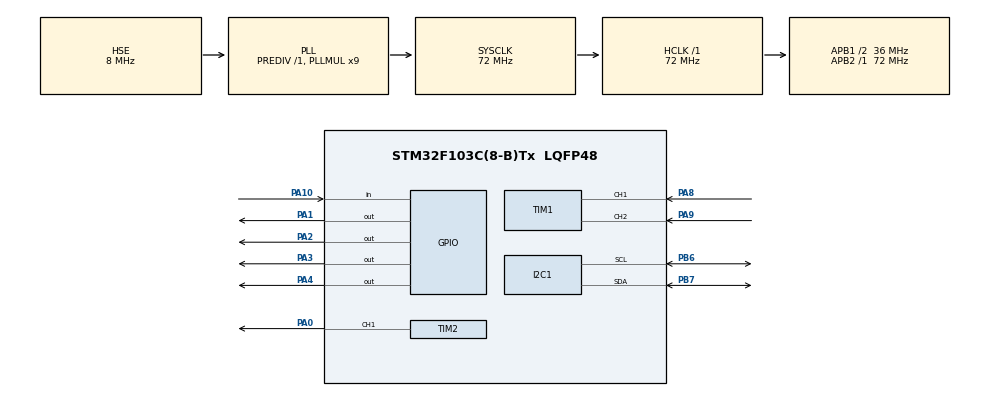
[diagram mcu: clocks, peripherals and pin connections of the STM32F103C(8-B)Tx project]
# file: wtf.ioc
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Mcu.Family=STM32F1
Mcu.Name=STM32F103C(8-B)Tx
Mcu.Package=LQFP48
NVIC.PriorityGroup=NVIC_PRIORITYGROUP_4
PA0-WKUP.Signal=S_TIM2_CH1_ETR
PA1.Signal=GPIO_Output
PA10.GPIO_PuPd=GPIO_PULLUP
PA10.Signal=GPIO_Input
PA13.Mode=Serial_Wire
PA13.Signal=SYS_JTMS-SWDIO
PA14.Mode=Serial_Wire
PA14.Signal=SYS_JTCK-SWCLK
PA2.Signal=GPIO_Output
PA3.PinState=GPIO_PIN_SET
PA3.Signal=GPIO_Output
PA4.Signal=GPIO_Output
PA8.Signal=S_TIM1_CH1
PA9.Signal=S_TIM1_CH2
PB6.Mode=I2C
PB6.Signal=I2C1_SCL
PB7.Mode=I2C
PB7.Signal=I2C1_SDA
PD0-OSC_IN.Mode=HSE-External-Oscillator
PD0-OSC_IN.Signal=RCC_OSC_IN
PD1-OSC_OUT.Mode=HSE-External-Oscillator
PD1-OSC_OUT.Signal=RCC_OSC_OUT
ProjectManager.HeapSize=0x200
ProjectManager.StackSize=0x400
ProjectManager.TargetToolchain=Makefile
RCC.AHBFreq_Value=72000000
RCC.APB1CLKDivider=RCC_HCLK_DIV2
RCC.APB1Freq_Value=36000000
RCC.APB1TimFreq_Value=72000000
RCC.APB2Freq_Value=72000000
RCC.APB2TimFreq_Value=72000000
RCC.HCLKFreq_Value=72000000
RCC.PLLMUL=RCC_PLL_MUL9
RCC.PLLSourceVirtual=RCC_PLLSOURCE_HSE
RCC.SYSCLKFreq_VALUE=72000000
RCC.SYSCLKSource=RCC_SYSCLKSOURCE_PLLCLK
RCC.USBFreq_Value=72000000
SH.S_TIM1_CH1.0=TIM1_CH1,Encoder_Interface
SH.S_TIM1_CH2.0=TIM1_CH2,Encoder_Interface
SH.S_TIM2_CH1_ETR.0=TIM2_CH1,PWM Generation1 CH1
TIM1.EncoderMode=TIM_ENCODERMODE_TI12
TIM1.IC1Filter=15
TIM1.IC2Filter=15
TIM2.AutoReloadPreload=TIM_AUTORELOAD_PRELOAD_ENABLE
TIM2.Channel-PWM\ Generation1\ CH1=TIM_CHANNEL_1
TIM2.ClockDivision=TIM_CLOCKDIVISION_DIV1
TIM2.Period=1000-1
TIM2.Prescaler=72-1
TIM2.Pulse-PWM\ Generation1\ CH1=500
board=custom

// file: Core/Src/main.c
/* USER CODE BEGIN Header */
/**
  ******************************************************************************
  * @file           : main.c
  * @brief          : Main program body
  ******************************************************************************
  * @attention
  *
  * <h2><center>&copy; Copyright (c) 2021 STMicroelectronics.
  * All rights reserved.</center></h2>
  *
  * This software component is licensed by ST under BSD 3-Clause license,
  * the "License"; You may not use this file except in compliance with the
  * License. You may obtain a copy of the License at:
  *                        opensource.org/licenses/BSD-3-Clause
  *
  ******************************************************************************
  */
/* USER CODE END Header */
#include "main.h"
#include "i2c.h"
#include "tim.h"
#include "gpio.h"

/* USER CODE BEGIN Includes */
#include <stdbool.h>
#include "HD44780.h"
#include "common.h"
/* USER CODE END Includes */

void SystemClock_Config(void);

int main(void)
{

  /* MCU Configuration--------------------------------------------------------*/

  /* Reset of all peripherals, Initializes the Flash interface and the Systick. */
  HAL_Init();

  /* Configure the system clock */
  SystemClock_Config();

  /* Initialize all configured peripherals */
  MX_GPIO_Init();
  MX_I2C1_Init();
  MX_TIM1_Init();
  MX_TIM2_Init();
  /* USER CODE BEGIN 2 */
  HAL_TIM_Encoder_Start(&htim1, TIM_CHANNEL_ALL);
  LCD_Init();
  LCD_Clear();
  Motor_Init();
  /* USER CODE END 2 */

  /* Infinite loop */
  /* USER CODE BEGIN WHILE */

  bool change_speed = true;
  bool change_state = true;
  int8_t last_speed = get_speed();
  motor_state last_motor_state = get_state();
  while (1)
  {
    if (change_speed == true) {
      ReloadDisplay(disp_lv_0);
      change_speed = false;
    }
    if (change_state == true) {
      ReloadDisplay(disp_lv_1);
      change_state = false;
    }

    UpdateSpeed();
    UpdateState();

    /* USER CODE END WHILE */

    /* USER CODE BEGIN 3 */
    if (last_motor_state != get_state()) {
      change_state = true;
      last_motor_state = get_state();
    }
    if (last_speed != get_speed()) {
      change_speed = true;
      last_speed = get_speed();
    }
  }
  /* USER CODE END 3 */
}

void SystemClock_Config(void)
{
  RCC_OscInitTypeDef RCC_OscInitStruct = {0};
  RCC_ClkInitTypeDef RCC_ClkInitStruct = {0};

  /** Initializes the RCC Oscillators according to the specified parameters
  * in the RCC_OscInitTypeDef structure.
  */
  RCC_OscInitStruct.OscillatorType = RCC_OSCILLATORTYPE_HSE;
  RCC_OscInitStruct.HSEState = RCC_HSE_ON;
  RCC_OscInitStruct.HSEPredivValue = RCC_HSE_PREDIV_DIV1;
  RCC_OscInitStruct.HSIState = RCC_HSI_ON;
  RCC_OscInitStruct.PLL.PLLState = RCC_PLL_ON;
  RCC_OscInitStruct.PLL.PLLSource = RCC_PLLSOURCE_HSE;
  RCC_OscInitStruct.PLL.PLLMUL = RCC_PLL_MUL9;
  if (HAL_RCC_OscConfig(&RCC_OscInitStruct) != HAL_OK)
  {
    Error_Handler();
  }
  /** Initializes the CPU, AHB and APB buses clocks
  */
  RCC_ClkInitStruct.ClockType = RCC_CLOCKTYPE_HCLK|RCC_CLOCKTYPE_SYSCLK
                              |RCC_CLOCKTYPE_PCLK1|RCC_CLOCKTYPE_PCLK2;
  RCC_ClkInitStruct.SYSCLKSource = RCC_SYSCLKSOURCE_PLLCLK;
  RCC_ClkInitStruct.AHBCLKDivider = RCC_SYSCLK_DIV1;
  RCC_ClkInitStruct.APB1CLKDivider = RCC_HCLK_DIV2;
  RCC_ClkInitStruct.APB2CLKDivider = RCC_HCLK_DIV1;

  if (HAL_RCC_ClockConfig(&RCC_ClkInitStruct, FLASH_LATENCY_2) != HAL_OK)
  {
    Error_Handler();
  }
}

void Error_Handler(void)
{
  __disable_irq();
  while (1)
  {
  }
}

/************************ (C) COPYRIGHT STMicroelectronics *****END OF FILE****/
